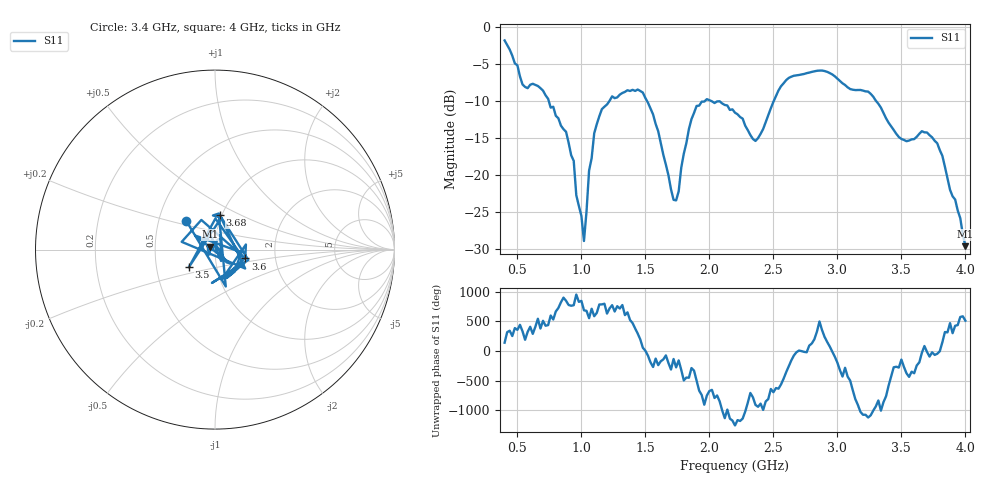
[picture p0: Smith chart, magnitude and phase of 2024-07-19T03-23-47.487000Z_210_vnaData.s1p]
!Created with skrf (http://scikit-rf.org).
# Hz S RI R 50.0
!freq ReS11 ImS11
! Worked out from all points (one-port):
!   181 points, 400 MHz to 4 GHz, reference 50 ohm
!   lowest |S11| = -29.6 dB at 4 GHz (marker M1), VSWR 1.07, Z = 47.2 + j1.63 ohm
!   |S11| at or under -10 dB: 745.5 MHz to 1.218 GHz (472.5 MHz wide, 48.1 % of centre); 2.018 GHz to 2.502 GHz (483.7 MHz wide, 21.4 % of centre); 3.304 GHz to end of sweep (the widest 3 of 4)
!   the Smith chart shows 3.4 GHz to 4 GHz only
!   S11 on the Smith chart (normalised r, x): 3.4 GHz: 0.69, +0.23; 3.5 GHz: 0.73, -0.15; 3.6 GHz: 1.40, -0.14; 3.68 GHz: 0.98, +0.39; 4 GHz: 0.94, +0.03
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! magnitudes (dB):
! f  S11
! 400 MHz  -1.8
! 540 MHz  -7.7
! 700 MHz  -8.6
! 860 MHz  -13.8
! 940 MHz  -18.1
! 960 MHz  -22.7
! 1.02 GHz  -28.9
! 1.06 GHz  -19.4
! 1.1 GHz  -14.3
! 1.3 GHz  -9.1
! 1.48 GHz  -8.8
! 1.6 GHz  -14.1
! 1.72 GHz  -23.3
! 1.76 GHz  -22.2
! 1.84 GHz  -13.8
! 1.9 GHz  -10.6
! 2.2 GHz  -11.5
! 2.36 GHz  -15.4
! 2.66 GHz  -6.6
! 3.1 GHz  -8.4
! 3.26 GHz  -9.0
! 3.4 GHz  -12.9
! 3.5 GHz  -15.1
! 3.56 GHz  -15.3
! 3.6 GHz  -15.1
! 3.68 GHz  -14.2
! 3.82 GHz  -17.4
! 4 GHz  -29.6
